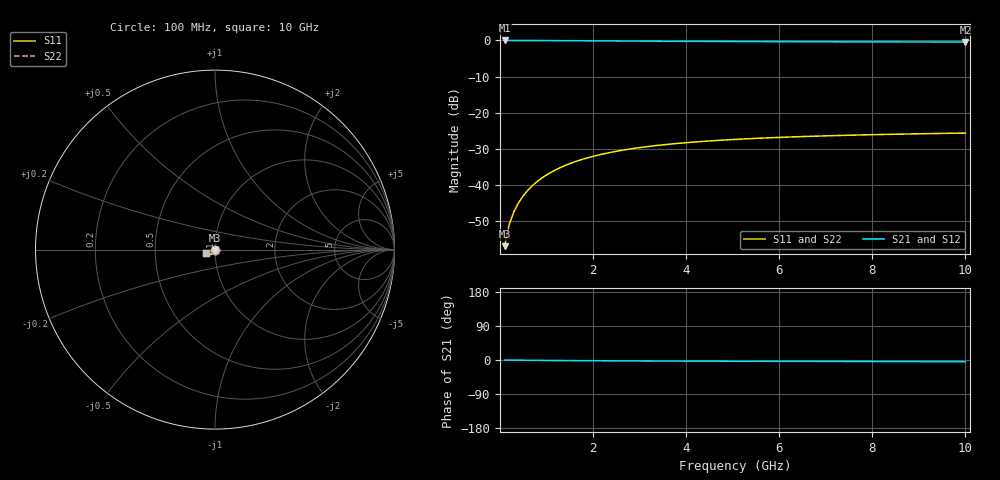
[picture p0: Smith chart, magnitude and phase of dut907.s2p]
! Touchstone file exported from HFSS 2024.1.0
!  File:  C:/UserFiles/LocalFiles/RDL_TSV_Batchsim/temp_TSV1_907_1779944745.aedt
!  Generated:  01:11:50 PM May 28, 2026
!  Design:  TSV1
!  Project:  temp_TSV1_907_1779944745
!  Setup:  Setup1
!  Solution:  Sweep
! Variables:
!  dtsv = 13.25um
!  hbump = 3um
!  htsv = 67.05um
!  lrdl = 252.1521522um
!  p = 40
!  p1 = 45.05um
!  t = 500um
!  trdl = 3um
!  wrdl = 24.89489489um
# GHz S MA R 50.000000
! Terminal data exported
! Port[1] = TSV22_T1
! Port[2] = TSV22_T2
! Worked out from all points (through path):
!   100 points, 100 MHz to 10 GHz, reference 50 ohm
!   highest |S21| = 0.00 dB at 100 MHz (marker M1); lowest = -0.4 dB at 10 GHz (marker M2)
!   lowest |S11| = -57.0 dB at 100 MHz (marker M3), VSWR 1.00, Z = 50 - j0.141 ohm
!   |S11| at or under -10 dB: start of sweep to end of sweep
!   |S22| runs from -57.0 to -25.7 dB; largest |S21 - S12| = 5.4e-15
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0.1  0.001408 -88.3  0.9999 -0.1  0.9999 -0.1  0.001408 -88.3
! Gamma 0 0 0 0
! Port Impedance 50 0 50 0
0.2  0.002823 -91.3  0.9998 -0.2  0.9998 -0.2  0.002824 -91.3
0.3  0.004236 -93.4  0.9996 -0.3  0.9996 -0.3  0.004236 -93.4
0.4  0.005637 -95.3  0.9993 -0.5  0.9993 -0.5  0.005637 -95.3
0.5  0.007025 -97.0  0.9989 -0.6  0.9989 -0.6  0.007025 -97.0
0.6  0.008395 -98.6  0.9985 -0.7  0.9985 -0.7  0.008395 -98.6
0.7  0.009746 -100.3  0.998 -0.8  0.998 -0.8  0.009746 -100.3
0.8  0.01108 -101.8  0.9975 -0.9  0.9975 -0.9  0.01108 -101.8
0.9  0.01238 -103.3  0.9969 -1.0  0.9969 -1.0  0.01238 -103.3
1.1  0.01491 -106.3  0.9955 -1.2  0.9955 -1.2  0.01491 -106.3
1.4  0.01848 -110.5  0.9932 -1.5  0.9932 -1.5  0.01848 -110.5
1.6  0.02069 -113.1  0.9916 -1.6  0.9916 -1.6  0.02069 -113.1
1.8  0.02278 -115.6  0.9899 -1.8  0.9899 -1.8  0.02278 -115.6
2.1  0.02566 -119.2  0.9873 -2.0  0.9873 -2.0  0.02566 -119.2
2.5  0.02907 -123.4  0.9839 -2.2  0.9839 -2.2  0.02907 -123.4
2.9  0.03202 -127.2  0.9806 -2.4  0.9806 -2.4  0.03202 -127.2
3.4  0.03517 -131.4  0.9768 -2.7  0.9768 -2.7  0.03517 -131.4
4.2  0.0392 -137.0  0.9715 -3.0  0.9715 -3.0  0.0392 -137.0
5.1  0.04264 -142.0  0.9665 -3.2  0.9665 -3.2  0.04264 -142.0
6.7  0.04696 -148.8  0.9598 -3.7  0.9598 -3.7  0.04696 -148.8
8.4  0.05001 -154.1  0.955 -4.1  0.955 -4.1  0.05001 -154.1
10  0.052 -158.0  0.9517 -4.5  0.9517 -4.5  0.052 -158.0
